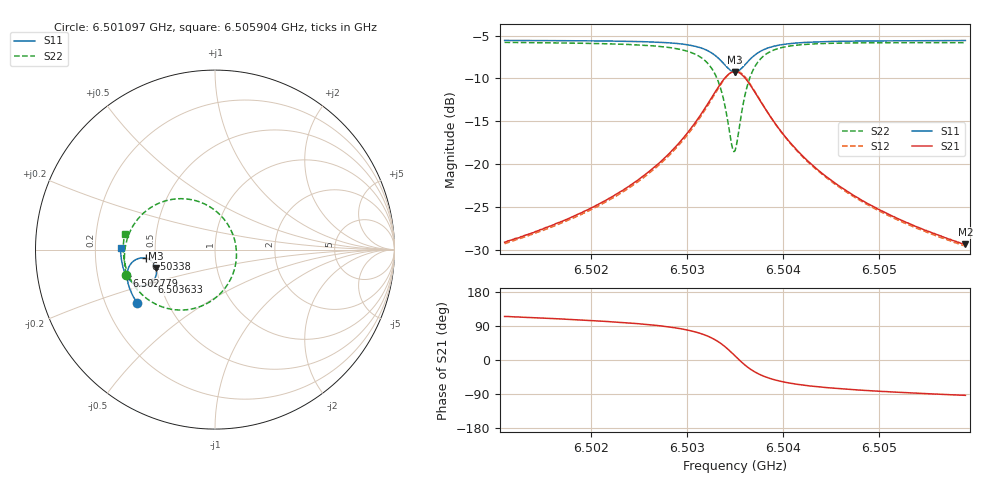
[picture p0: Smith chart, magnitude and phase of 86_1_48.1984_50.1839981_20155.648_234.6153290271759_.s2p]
#  HZ  S  RI  R  50.00
! Rohde & Schwarz Vector Network Analyzer
! Rohde-Schwarz,ZNB20-2Port,1311601062101988,3.16
! Created: UTC 3/20/2024, 11:39:53 AM
! freq[Hz]  re:S11  im:S11  re:S21  im:S21  re:S12  im:S12  re:S22  im:S22
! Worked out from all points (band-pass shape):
!   401 points, 6.501097 GHz to 6.505904 GHz, reference 50 ohm
!   highest |S21| = -9.20 dB at 6.503501 GHz (marker M1); lowest = -29.4 dB at 6.505904 GHz (marker M2)
!   |S21| within 3 dB of the highest: 6.50326 GHz to 6.503741 GHz (481 kHz wide, 0.0074 % of centre)
!   lowest |S11| = -9.3 dB at 6.503501 GHz (marker M3), VSWR 2.05, Z = 24.8 - j5.75 ohm
!   |S11| at or under -10 dB: nowhere
!   |S22| runs from -18.5 to -5.8 dB; largest |S21 - S12| = 0.012
!   S11 on the Smith chart (normalised r, x): 6.501097 GHz: 0.34, -0.28; 6.502779 GHz: 0.33, -0.13; 6.50338 GHz: 0.44, -0.05; 6.503633 GHz: 0.45, -0.20; 6.505904 GHz: 0.31, +0.01
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6.5010968e9  -0.4329 -0.2997  -0.0148 0.0318  -0.013 0.0318  -0.4939 -0.1396
6.501902e9  -0.4665 -0.2387  -0.0138 0.0503  -0.0115 0.0497  -0.5046 -0.0513
6.5023468e9  -0.4816 -0.1983  -0.0107 0.0706  -0.00757 0.0693  -0.4997 0.0147
6.5027073e9  -0.4893 -0.1569  -0.000799 0.1012  0.00279 0.0989  -0.4777 0.0909
6.5027795e9  -0.4899 -0.1469  0.00308 0.1104  0.00703 0.1075  -0.4688 0.1106
6.5029838e9  -0.4857 -0.1134  0.0253 0.1449  0.029 0.1404  -0.4227 0.1788
6.50314e9  -0.4705 -0.0811  0.0658 0.1816  0.0685 0.1756  -0.3436 0.2431
6.5032843e9  -0.4316 -0.0514  0.1499 0.2106  0.1503 0.2041  -0.1904 0.2836
6.5033324e9  -0.4097 -0.0467  0.1934 0.2088  0.1934 0.203  -0.1136 0.2742
6.5033804e9  -0.3838 -0.049  0.2434 0.193  0.2435 0.1882  -0.0282 0.238
6.5034646e9  -0.3401 -0.0793  0.323 0.1159  0.3256 0.1116  0.099 0.0857
6.5035006e9  -0.3291 -0.1022  0.3405 0.0658  0.3445 0.0602  0.1193 -0.00868
6.5035247e9  -0.3262 -0.1188  0.3439 0.0302  0.348 0.0233  0.1163 -0.0737
6.5035607e9  -0.3285 -0.1435  0.336 -0.021  0.3396 -0.0301  0.0873 -0.1648
6.5036328e9  -0.3514 -0.1814  0.2878 -0.0987  0.2875 -0.1104  -0.0268 -0.29
6.503729e9  -0.3932 -0.2014  0.2074 -0.1423  0.2024 -0.1528  -0.1903 -0.3367
6.5038852e9  -0.4433 -0.1939  0.1175 -0.1413  0.1101 -0.1469  -0.3535 -0.291
6.5040535e9  -0.4727 -0.1727  0.0688 -0.12  0.0621 -0.1224  -0.4331 -0.2223
6.5043059e9  -0.4954 -0.1415  0.0353 -0.0924  0.0302 -0.093  -0.4813 -0.1431
6.5046665e9  -0.5112 -0.1027  0.0157 -0.0678  0.0121 -0.0674  -0.5044 -0.0668
6.5051112e9  -0.5206 -0.0609  0.00531 -0.0504  0.00298 -0.0498  -0.5109 -0.000991
6.5059045e9  -0.526 0.00704  -0.00192 -0.0339  -0.00332 -0.0331  -0.5036 0.0858
